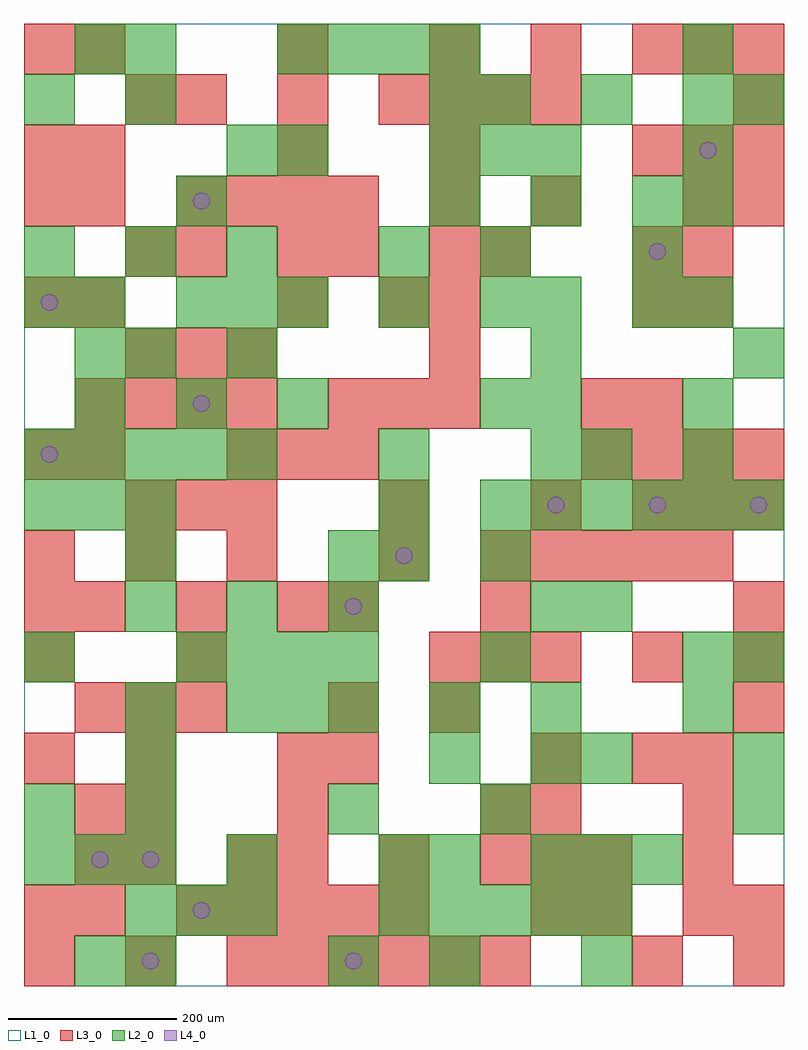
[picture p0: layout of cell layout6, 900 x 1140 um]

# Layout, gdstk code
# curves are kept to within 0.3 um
import gdstk
lib = gdstk.Library(unit=1e-6, precision=1e-09)
def R(c, l, rs):  # rectangles x0, y0, x1, y1
    for r in rs: c.add(gdstk.rectangle(r[:2], r[2:], *l))
def A(c, l, x, y, w, h, nx, ny, dx, dy):  # array of equal rectangles
    R(c, l, [(x+i*dx, y+j*dy, x+i*dx+w, y+j*dy+h) for i in range(nx) for j in range(ny)])
def P(c, l, *ps):  # polygons
    for p in ps: c.add(gdstk.Polygon(p, *l))
L1_0 = (1, 0)
L2_0 = (2, 0)
L3_0 = (3, 0)
L4_0 = (4, 0)

layout6 = lib.new_cell('layout6')
R(layout6, L1_0, [(0,0,900,1140)])
A(layout6, L2_0, 480, 0, 60, 60, 1, 3, 0, 120)
A(layout6, L2_0, 120, 60, 60, 60, 3, 1, 60, 0)
A(layout6, L2_0, 420, 60, 60, 60, 5, 1, 60, 0)
A(layout6, L2_0, 0, 120, 60, 60, 3, 2, 60, 420)
A(layout6, L2_0, 600, 120, 60, 60, 3, 1, 60, 0)
A(layout6, L2_0, 120, 180, 60, 60, 1, 3, 0, 60)
A(layout6, L2_0, 660, 240, 60, 60, 1, 3, 0, 180)
A(layout6, L2_0, 240, 300, 60, 60, 3, 1, 60, 0)
A(layout6, L2_0, 180, 360, 60, 60, 4, 1, 60, 0)
A(layout6, L2_0, 120, 420, 60, 60, 3, 1, 120, 0)
A(layout6, L2_0, 420, 480, 60, 60, 1, 3, 0, 60)
A(layout6, L2_0, 540, 540, 60, 60, 6, 1, 60, 0)
A(layout6, L2_0, 0, 600, 60, 60, 5, 1, 60, 0)
A(layout6, L2_0, 600, 600, 60, 60, 1, 4, 0, 60)
A(layout6, L2_0, 60, 660, 60, 60, 3, 1, 120, 0)
A(layout6, L2_0, 780, 660, 60, 60, 1, 3, 0, 120)
A(layout6, L2_0, 180, 780, 60, 60, 3, 1, 60, 0)
A(layout6, L2_0, 0, 840, 60, 60, 3, 1, 120, 0)
A(layout6, L2_0, 480, 900, 60, 60, 3, 1, 120, 0)
A(layout6, L2_0, 480, 960, 60, 60, 3, 1, 60, 0)
A(layout6, L2_0, 540, 1020, 60, 60, 3, 1, 120, 0)
A(layout6, L2_0, 300, 1080, 60, 60, 4, 1, 60, 0)
R(layout6, L2_0, [(60,0,120,60), (120,0,180,60), (360,0,420,60), (660,0,720,60), (240,120,300,180), (420,120,480,180), (0,180,60,240), (360,180,420,240), (540,180,600,240), (840,180,900,240), (600,240,660,300), (840,240,900,300), (480,300,540,360), (600,300,660,360), (780,300,840,360), (0,360,60,420), (540,360,600,420), (780,360,840,420), (840,360,900,420), (600,420,660,480), (120,480,180,540), (360,480,420,540), (540,480,600,540), (780,600,840,660), (540,660,600,720), (60,720,120,780), (120,720,180,780), (240,720,300,780), (840,720,900,780), (0,780,60,840), (60,780,120,840), (420,780,480,840), (540,780,600,840), (720,780,780,840), (420,840,480,900), (540,840,600,900), (720,840,780,900), (180,900,240,960), (240,960,300,1020), (300,960,360,1020), (780,960,840,1020), (0,1020,60,1080), (120,1020,180,1080), (480,1020,540,1080), (840,1020,900,1080), (60,1080,120,1140), (120,1080,180,1140), (780,1080,840,1140)])
A(layout6, L3_0, 0, 0, 60, 60, 3, 2, 120, 480)
A(layout6, L3_0, 300, 0, 60, 60, 5, 1, 60, 0)
A(layout6, L3_0, 60, 60, 60, 60, 1, 3, 0, 60)
A(layout6, L3_0, 180, 60, 60, 60, 5, 1, 60, 0)
A(layout6, L3_0, 600, 60, 60, 60, 1, 4, 0, 60)
A(layout6, L3_0, 780, 60, 60, 60, 1, 4, 0, 60)
A(layout6, L3_0, 120, 120, 60, 60, 1, 3, 0, 60)
A(layout6, L3_0, 300, 120, 60, 60, 3, 1, 120, 0)
A(layout6, L3_0, 60, 300, 60, 60, 3, 1, 60, 0)
A(layout6, L3_0, 840, 300, 60, 60, 1, 3, 0, 60)
A(layout6, L3_0, 480, 360, 60, 60, 3, 2, 60, 660)
A(layout6, L3_0, 0, 420, 60, 60, 1, 3, 0, 180)
A(layout6, L3_0, 60, 420, 60, 60, 3, 1, 120, 0)
A(layout6, L3_0, 540, 480, 60, 60, 5, 1, 60, 0)
A(layout6, L3_0, 120, 540, 60, 60, 3, 2, 60, 180)
A(layout6, L3_0, 720, 540, 60, 60, 3, 2, 60, 420)
A(layout6, L3_0, 240, 600, 60, 60, 3, 1, 60, 0)
A(layout6, L3_0, 660, 600, 60, 60, 4, 1, 60, 0)
A(layout6, L3_0, 60, 660, 60, 60, 4, 1, 60, 0)
A(layout6, L3_0, 360, 660, 60, 60, 3, 1, 60, 0)
A(layout6, L3_0, 480, 720, 60, 60, 1, 5, 0, 60)
A(layout6, L3_0, 780, 780, 60, 60, 1, 3, 0, 60)
A(layout6, L3_0, 300, 840, 60, 60, 1, 3, 0, 120)
A(layout6, L3_0, 180, 900, 60, 60, 4, 1, 60, 0)
A(layout6, L3_0, 180, 1020, 60, 60, 3, 1, 120, 0)
A(layout6, L3_0, 480, 1080, 60, 60, 3, 1, 120, 0)
R(layout6, L3_0, [(720,0,780,60), (840,0,900,60), (0,60,60,120), (660,60,720,120), (840,60,900,120), (240,120,300,180), (660,120,720,180), (300,180,360,240), (540,180,600,240), (0,240,60,300), (300,240,360,300), (360,240,420,300), (720,240,780,300), (360,300,420,360), (480,300,540,360), (0,360,60,420), (180,360,240,420), (720,360,780,420), (360,420,420,480), (540,420,600,480), (420,480,480,540), (420,540,480,600), (600,540,660,600), (60,600,120,660), (660,660,720,720), (720,660,780,720), (60,780,120,840), (300,780,360,840), (420,780,480,840), (720,780,780,840), (120,840,180,900), (180,840,240,900), (360,840,420,900), (540,840,600,900), (720,840,780,900), (0,900,60,960), (60,900,120,960), (600,900,660,960), (840,900,900,960), (0,960,60,1020), (60,960,120,1020), (120,1020,180,1080), (840,1020,900,1080), (0,1080,60,1140), (60,1080,120,1140), (780,1080,840,1140), (840,1080,900,1140)])
P(layout6, L4_0, [(40,630),(39.239,633.827),(37.071,637.071),(33.827,639.239),(30,640),(26.173,639.239),(22.929,637.071),(20.761,633.827),(20,630),(20.761,626.173),(22.929,622.929),(26.173,620.761),(30,620),(33.827,620.761),(37.071,622.929),(39.239,626.173)],
  [(40,810),(39.239,813.827),(37.071,817.071),(33.827,819.239),(30,820),(26.173,819.239),(22.929,817.071),(20.761,813.827),(20,810),(20.761,806.173),(22.929,802.929),(26.173,800.761),(30,800),(33.827,800.761),(37.071,802.929),(39.239,806.173)],
  [(100,150),(99.239,153.827),(97.071,157.071),(93.827,159.239),(90,160),(86.173,159.239),(82.929,157.071),(80.761,153.827),(80,150),(80.761,146.173),(82.929,142.929),(86.173,140.761),(90,140),(93.827,140.761),(97.071,142.929),(99.239,146.173)],
  [(160,30),(159.239,33.827),(157.071,37.071),(153.827,39.239),(150,40),(146.173,39.239),(142.929,37.071),(140.761,33.827),(140,30),(140.761,26.173),(142.929,22.929),(146.173,20.761),(150,20),(153.827,20.761),(157.071,22.929),(159.239,26.173)],
  [(160,150),(159.239,153.827),(157.071,157.071),(153.827,159.239),(150,160),(146.173,159.239),(142.929,157.071),(140.761,153.827),(140,150),(140.761,146.173),(142.929,142.929),(146.173,140.761),(150,140),(153.827,140.761),(157.071,142.929),(159.239,146.173)],
  [(220,90),(219.239,93.827),(217.071,97.071),(213.827,99.239),(210,100),(206.173,99.239),(202.929,97.071),(200.761,93.827),(200,90),(200.761,86.173),(202.929,82.929),(206.173,80.761),(210,80),(213.827,80.761),(217.071,82.929),(219.239,86.173)],
  [(220,690),(219.239,693.827),(217.071,697.071),(213.827,699.239),(210,700),(206.173,699.239),(202.929,697.071),(200.761,693.827),(200,690),(200.761,686.173),(202.929,682.929),(206.173,680.761),(210,680),(213.827,680.761),(217.071,682.929),(219.239,686.173)],
  [(220,930),(219.239,933.827),(217.071,937.071),(213.827,939.239),(210,940),(206.173,939.239),(202.929,937.071),(200.761,933.827),(200,930),(200.761,926.173),(202.929,922.929),(206.173,920.761),(210,920),(213.827,920.761),(217.071,922.929),(219.239,926.173)],
  [(400,30),(399.239,33.827),(397.071,37.071),(393.827,39.239),(390,40),(386.173,39.239),(382.929,37.071),(380.761,33.827),(380,30),(380.761,26.173),(382.929,22.929),(386.173,20.761),(390,20),(393.827,20.761),(397.071,22.929),(399.239,26.173)],
  [(400,450),(399.239,453.827),(397.071,457.071),(393.827,459.239),(390,460),(386.173,459.239),(382.929,457.071),(380.761,453.827),(380,450),(380.761,446.173),(382.929,442.929),(386.173,440.761),(390,440),(393.827,440.761),(397.071,442.929),(399.239,446.173)],
  [(460,510),(459.239,513.827),(457.071,517.071),(453.827,519.239),(450,520),(446.173,519.239),(442.929,517.071),(440.761,513.827),(440,510),(440.761,506.173),(442.929,502.929),(446.173,500.761),(450,500),(453.827,500.761),(457.071,502.929),(459.239,506.173)],
  [(640,570),(639.239,573.827),(637.071,577.071),(633.827,579.239),(630,580),(626.173,579.239),(622.929,577.071),(620.761,573.827),(620,570),(620.761,566.173),(622.929,562.929),(626.173,560.761),(630,560),(633.827,560.761),(637.071,562.929),(639.239,566.173)],
  [(760,570),(759.239,573.827),(757.071,577.071),(753.827,579.239),(750,580),(746.173,579.239),(742.929,577.071),(740.761,573.827),(740,570),(740.761,566.173),(742.929,562.929),(746.173,560.761),(750,560),(753.827,560.761),(757.071,562.929),(759.239,566.173)],
  [(760,870),(759.239,873.827),(757.071,877.071),(753.827,879.239),(750,880),(746.173,879.239),(742.929,877.071),(740.761,873.827),(740,870),(740.761,866.173),(742.929,862.929),(746.173,860.761),(750,860),(753.827,860.761),(757.071,862.929),(759.239,866.173)],
  [(820,990),(819.239,993.827),(817.071,997.071),(813.827,999.239),(810,1000),(806.173,999.239),(802.929,997.071),(800.761,993.827),(800,990),(800.761,986.173),(802.929,982.929),(806.173,980.761),(810,980),(813.827,980.761),(817.071,982.929),(819.239,986.173)],
  [(880,570),(879.239,573.827),(877.071,577.071),(873.827,579.239),(870,580),(866.173,579.239),(862.929,577.071),(860.761,573.827),(860,570),(860.761,566.173),(862.929,562.929),(866.173,560.761),(870,560),(873.827,560.761),(877.071,562.929),(879.239,566.173)])

lib.write_gds('layout6.gds')
